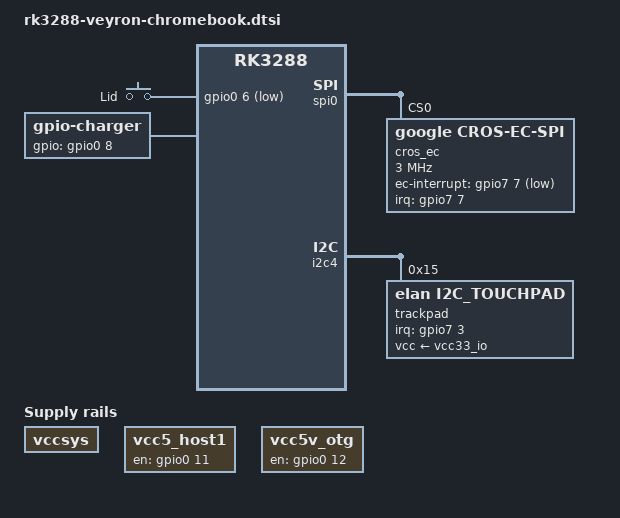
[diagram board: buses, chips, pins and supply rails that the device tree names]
// SPDX-License-Identifier: GPL-2.0
/*
 * Google Veyron (and derivatives) board device tree source
 *
 * Copyright 2014 Google, Inc
 */

#include <dt-bindings/clock/rockchip,rk808.h>
#include <dt-bindings/input/input.h>
#include "rk3288-veyron.dtsi"

/ {
	aliases {
		i2c20 = &i2c_tunnel;
		video0 = &vopl;
		video1 = &vopb;
	};

	gpio_keys: gpio-keys {
		pinctrl-0 = <&pwr_key_h &ap_lid_int_l>;
		lid {
			label = "Lid";
			gpios = <&gpio0 6 GPIO_ACTIVE_LOW>;
			linux,code = <0>; /* SW_LID */
			linux,input-type = <5>; /* EV_SW */
			debounce-interval = <1>;
			gpio-key,wakeup;
                };
	};

	gpio-charger {
		compatible = "gpio-charger";
		gpios = <&gpio0 8 GPIO_ACTIVE_HIGH>;
		pinctrl-names = "default";
		pinctrl-0 = <&ac_present_ap>;
		charger-type = "mains";
	};

	/* A non-regulated voltage from power supply or battery */
	vccsys: vccsys {
		compatible = "regulator-fixed";
		regulator-name = "vccsys";
		regulator-boot-on;
		regulator-always-on;
	};

	vcc33_sys: vcc33-sys {
		vin-supply = <&vccsys>;
	};

	vcc_5v: vcc-5v {
		vin-supply = <&vccsys>;
	};

	/* This turns on vbus for host1 (dwc2) */
	vcc5_host1: vcc5-host1-regulator {
		compatible = "regulator-fixed";
		enable-active-high;
		gpio = <&gpio0 11 GPIO_ACTIVE_HIGH>;
		pinctrl-names = "default";
		pinctrl-0 = <&host1_pwr_en>;
		regulator-name = "vcc5_host1";
		regulator-always-on;
		regulator-boot-on;
	};

	/* This turns on vbus for otg for host mode (dwc2) */
	vcc5v_otg: vcc5v-otg-regulator {
		compatible = "regulator-fixed";
		enable-active-high;
		gpio = <&gpio0 12 GPIO_ACTIVE_HIGH>;
		pinctrl-names = "default";
		pinctrl-0 = <&usbotg_pwren_h>;
		regulator-name = "vcc5_host2";
		regulator-always-on;
		regulator-boot-on;
	};
};

&rk808 {
	regulators {
		vcc33_ccd: LDO_REG8 {
			regulator-always-on;
			regulator-boot-on;
			regulator-min-microvolt = <3300000>;
			regulator-max-microvolt = <3300000>;
			regulator-name = "vcc33_ccd";
			regulator-suspend-mem-disabled;
		};
	};
};

&spi0 {
	status = "okay";
	spi-activate-delay = <100>;
	spi-max-frequency = <3000000>;
	spi-deactivate-delay = <200>;

	cros_ec: ec@0 {
		compatible = "google,cros-ec-spi";
		spi-max-frequency = <3000000>;
		interrupt-parent = <&gpio7>;
		interrupts = <7 IRQ_TYPE_LEVEL_LOW>;
		ec-interrupt = <&gpio7 7 GPIO_ACTIVE_LOW>;
		pinctrl-names = "default";
		pinctrl-0 = <&ec_int>;
		reg = <0>;
		google,cros-ec-spi-pre-delay = <30>;

		i2c_tunnel: i2c-tunnel {
			compatible = "google,cros-ec-i2c-tunnel";
			google,remote-bus = <0>;
			#address-cells = <1>;
			#size-cells = <0>;
		};
	};
};

&i2c4 {
	trackpad@15 {
		compatible = "elan,i2c_touchpad";
		interrupt-parent = <&gpio7>;
		interrupts = <3 IRQ_TYPE_EDGE_FALLING>;
		pinctrl-names = "default";
		pinctrl-0 = <&trackpad_int>;
		reg = <0x15>;
		vcc-supply = <&vcc33_io>;
		wakeup-source;
	};
};

&pinctrl {
	pinctrl-0 = <
		/* Common for sleep and wake, but no owners */
		&ddr0_retention
		&ddrio_pwroff
		&global_pwroff

		/* Wake only */
		&suspend_l_wake
		&bt_dev_wake_awake
	>;
	pinctrl-1 = <
		/* Common for sleep and wake, but no owners */
		&ddr0_retention
		&ddrio_pwroff
		&global_pwroff

		/* Sleep only */
		&suspend_l_sleep
		&bt_dev_wake_sleep
	>;

	buttons {
		ap_lid_int_l: ap-lid-int-l {
			rockchip,pins = <0 6 RK_FUNC_GPIO &pcfg_pull_up>;
		};
	};

	charger {
		ac_present_ap: ac-present-ap {
			rockchip,pins = <0 8 RK_FUNC_GPIO &pcfg_pull_up>;
		};
	};

	cros-ec {
		ec_int: ec-int {
			rockchip,pins = <7 7 RK_FUNC_GPIO &pcfg_pull_none>;
		};
	};

	sdmmc {
		sdmmc_wp_gpio: sdmmc-wp-gpio {
			rockchip,pins = <7 10 RK_FUNC_GPIO &pcfg_pull_up>;
		};
	};

	suspend {
		suspend_l_wake: suspend-l-wake {
			rockchip,pins = <0 17 RK_FUNC_GPIO &pcfg_output_low>;
		};

		suspend_l_sleep: suspend-l-sleep {
			rockchip,pins = <0 17 RK_FUNC_GPIO &pcfg_output_high>;
		};
	};

	trackpad {
		trackpad_int: trackpad-int {
			rockchip,pins = <7 3 RK_FUNC_GPIO &pcfg_pull_up>;
		};
	};

	usb-host {
		host1_pwr_en: host1-pwr-en {
			rockchip,pins = <0 11 RK_FUNC_GPIO &pcfg_pull_none>;
		};

		usbotg_pwren_h: usbotg-pwren-h {
			rockchip,pins = <0 12 RK_FUNC_GPIO &pcfg_pull_none>;
		};
	};
};

#include "cros-ec-keyboard.dtsi"
